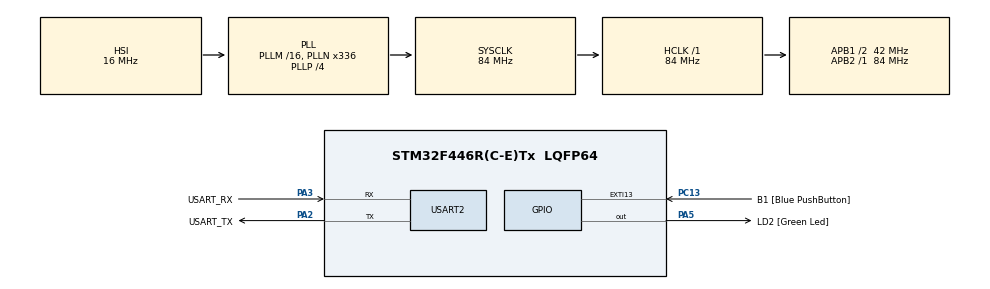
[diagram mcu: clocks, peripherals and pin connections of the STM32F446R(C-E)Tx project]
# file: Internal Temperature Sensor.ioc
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ADC1.Channel-0\#ChannelRegularConversion=ADC_CHANNEL_TEMPSENSOR
ADC1.ContinuousConvMode=DISABLE
ADC1.NbrOfConversionFlag=1
ADC1.Rank-0\#ChannelRegularConversion=1
ADC1.SamplingTime-0\#ChannelRegularConversion=ADC_SAMPLETIME_3CYCLES
ADC1.master=1
Mcu.Family=STM32F4
Mcu.Name=STM32F446R(C-E)Tx
Mcu.Package=LQFP64
NVIC.PriorityGroup=NVIC_PRIORITYGROUP_0
PA13.GPIO_Label=TMS
PA13.Mode=Serial_Wire
PA13.Signal=SYS_JTMS-SWDIO
PA14.GPIO_Label=TCK
PA14.Mode=Serial_Wire
PA14.Signal=SYS_JTCK-SWCLK
PA2.GPIO_Label=USART_TX
PA2.Mode=Asynchronous
PA2.Signal=USART2_TX
PA3.GPIO_Label=USART_RX
PA3.Mode=Asynchronous
PA3.Signal=USART2_RX
PA5.GPIO_Label=LD2 [Green Led]
PA5.Signal=GPIO_Output
PB3.GPIO_Label=SWO
PB3.Signal=SYS_JTDO-SWO
PC13.GPIO_Label=B1 [Blue PushButton]
PC13.GPIO_ModeDefaultEXTI=GPIO_MODE_IT_FALLING
PC13.Signal=GPXTI13
PC14-OSC32_IN.Mode=LSE-External-Oscillator
PC14-OSC32_IN.Signal=RCC_OSC32_IN
PC15-OSC32_OUT.Mode=LSE-External-Oscillator
PC15-OSC32_OUT.Signal=RCC_OSC32_OUT
PH0-OSC_IN.Mode=HSE-External-Oscillator
PH0-OSC_IN.Signal=RCC_OSC_IN
PH1-OSC_OUT.Mode=HSE-External-Oscillator
PH1-OSC_OUT.Signal=RCC_OSC_OUT
ProjectManager.HeapSize=0x200
ProjectManager.StackSize=0x400
ProjectManager.TargetToolchain=STM32CubeIDE
RCC.48MHZClocksFreq_Value=84000000
RCC.AHBFreq_Value=84000000
RCC.APB1CLKDivider=RCC_HCLK_DIV2
RCC.APB1Freq_Value=42000000
RCC.APB1TimFreq_Value=84000000
RCC.APB2Freq_Value=84000000
RCC.APB2TimFreq_Value=84000000
RCC.CortexFreq_Value=84000000
RCC.FLatency-AdvancedSettings=FLASH_LATENCY_2
RCC.HCLKFreq_Value=84000000
RCC.HSE_VALUE=8000000
RCC.HSI_VALUE=16000000
RCC.PLLN=336
RCC.PLLP=RCC_PLLP_DIV4
RCC.SYSCLKFreq_VALUE=84000000
RCC.SYSCLKSource=RCC_SYSCLKSOURCE_PLLCLK
RCC.USBFreq_Value=168000000
RCC.VCOOutputFreq_Value=336000000
USART2.VirtualMode=VM_ASYNC
VP_ADC1_TempSens_Input.Mode=IN-TempSens
board=NUCLEO-F446RE

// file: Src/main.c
/* USER CODE BEGIN Header */
/**
  ******************************************************************************
  * @file           : main.c
  * @brief          : Main program body
  ******************************************************************************
  * @attention
  *
  * Copyright (c) 2026 STMicroelectronics.
  * All rights reserved.
  *
  * This software is licensed under terms that can be found in the LICENSE file
  * in the root directory of this software component.
  * If no LICENSE file comes with this software, it is provided AS-IS.
  *
  ******************************************************************************
  */
/* USER CODE END Header */
#include "main.h"

/* USER CODE BEGIN Includes */
#include <stdio.h>
#include <string.h>

/* USER CODE END Includes */

ADC_HandleTypeDef hadc1;

UART_HandleTypeDef huart2;

void SystemClock_Config(void);
static void MX_GPIO_Init(void);
static void MX_ADC1_Init(void);
static void MX_USART2_UART_Init(void);

int main(void)
{

  /* USER CODE BEGIN 1 */
	uint32_t adc_value;
	char msg[100];
	float voltage;
	float temperature;

  /* USER CODE END 1 */

  /* MCU Configuration--------------------------------------------------------*/

  /* Reset of all peripherals, Initializes the Flash interface and the Systick. */
  HAL_Init();

  /* Configure the system clock */
  SystemClock_Config();

  /* Initialize all configured peripherals */
  MX_GPIO_Init();
  MX_ADC1_Init();
  MX_USART2_UART_Init();

  /* Infinite loop */
  while (1)
  {

    /* USER CODE BEGIN 3 */
	HAL_ADC_Start(&hadc1);
	HAL_ADC_PollForConversion(&hadc1, HAL_MAX_DELAY);

	adc_value = HAL_ADC_GetValue(&hadc1);

	voltage = ((float)adc_value / 4095.0f) * 3.3f;

	temperature = ((voltage - 0.76f) / 0.0025f) + 25.0f;

	sprintf(msg,
	          "ADC:%lu Voltage:%.2f Temp:%.2f C\r\n",
	          adc_value,
	          voltage,
	          temperature);

	HAL_UART_Transmit(&huart2, (uint8_t*)msg, strlen(msg), HAL_MAX_DELAY);

	HAL_Delay(4000);
  }
  /* USER CODE END 3 */
}

void SystemClock_Config(void)
{
  RCC_OscInitTypeDef RCC_OscInitStruct = {0};
  RCC_ClkInitTypeDef RCC_ClkInitStruct = {0};

  /** Configure the main internal regulator output voltage
  */
  __HAL_RCC_PWR_CLK_ENABLE();
  __HAL_PWR_VOLTAGESCALING_CONFIG(PWR_REGULATOR_VOLTAGE_SCALE3);

  /** Initializes the RCC Oscillators according to the specified parameters
  * in the RCC_OscInitTypeDef structure.
  */
  RCC_OscInitStruct.OscillatorType = RCC_OSCILLATORTYPE_HSI;
  RCC_OscInitStruct.HSIState = RCC_HSI_ON;
  RCC_OscInitStruct.HSICalibrationValue = RCC_HSICALIBRATION_DEFAULT;
  RCC_OscInitStruct.PLL.PLLState = RCC_PLL_ON;
  RCC_OscInitStruct.PLL.PLLSource = RCC_PLLSOURCE_HSI;
  RCC_OscInitStruct.PLL.PLLM = 16;
  RCC_OscInitStruct.PLL.PLLN = 336;
  RCC_OscInitStruct.PLL.PLLP = RCC_PLLP_DIV4;
  RCC_OscInitStruct.PLL.PLLQ = 2;
  RCC_OscInitStruct.PLL.PLLR = 2;
  if (HAL_RCC_OscConfig(&RCC_OscInitStruct) != HAL_OK)
  {
    Error_Handler();
  }

  /** Initializes the CPU, AHB and APB buses clocks
  */
  RCC_ClkInitStruct.ClockType = RCC_CLOCKTYPE_HCLK|RCC_CLOCKTYPE_SYSCLK
                              |RCC_CLOCKTYPE_PCLK1|RCC_CLOCKTYPE_PCLK2;
  RCC_ClkInitStruct.SYSCLKSource = RCC_SYSCLKSOURCE_PLLCLK;
  RCC_ClkInitStruct.AHBCLKDivider = RCC_SYSCLK_DIV1;
  RCC_ClkInitStruct.APB1CLKDivider = RCC_HCLK_DIV2;
  RCC_ClkInitStruct.APB2CLKDivider = RCC_HCLK_DIV1;

  if (HAL_RCC_ClockConfig(&RCC_ClkInitStruct, FLASH_LATENCY_2) != HAL_OK)
  {
    Error_Handler();
  }
}

static void MX_ADC1_Init(void)
{

  ADC_ChannelConfTypeDef sConfig = {0};

  /** Configure the global features of the ADC (Clock, Resolution, Data Alignment and number of conversion)
  */
  hadc1.Instance = ADC1;
  hadc1.Init.ClockPrescaler = ADC_CLOCK_SYNC_PCLK_DIV4;
  hadc1.Init.Resolution = ADC_RESOLUTION_12B;
  hadc1.Init.ScanConvMode = DISABLE;
  hadc1.Init.ContinuousConvMode = DISABLE;
  hadc1.Init.DiscontinuousConvMode = DISABLE;
  hadc1.Init.ExternalTrigConvEdge = ADC_EXTERNALTRIGCONVEDGE_NONE;
  hadc1.Init.ExternalTrigConv = ADC_SOFTWARE_START;
  hadc1.Init.DataAlign = ADC_DATAALIGN_RIGHT;
  hadc1.Init.NbrOfConversion = 1;
  hadc1.Init.DMAContinuousRequests = DISABLE;
  hadc1.Init.EOCSelection = ADC_EOC_SINGLE_CONV;
  if (HAL_ADC_Init(&hadc1) != HAL_OK)
  {
    Error_Handler();
  }

  /** Configure for the selected ADC regular channel its corresponding rank in the sequencer and its sample time.
  */
  sConfig.Channel = ADC_CHANNEL_TEMPSENSOR;
  sConfig.Rank = 1;
  sConfig.SamplingTime = ADC_SAMPLETIME_3CYCLES;
  if (HAL_ADC_ConfigChannel(&hadc1, &sConfig) != HAL_OK)
  {
    Error_Handler();
  }

}

static void MX_USART2_UART_Init(void)
{

  huart2.Instance = USART2;
  huart2.Init.BaudRate = 115200;
  huart2.Init.WordLength = UART_WORDLENGTH_8B;
  huart2.Init.StopBits = UART_STOPBITS_1;
  huart2.Init.Parity = UART_PARITY_NONE;
  huart2.Init.Mode = UART_MODE_TX_RX;
  huart2.Init.HwFlowCtl = UART_HWCONTROL_NONE;
  huart2.Init.OverSampling = UART_OVERSAMPLING_16;
  if (HAL_UART_Init(&huart2) != HAL_OK)
  {
    Error_Handler();
  }

}

static void MX_GPIO_Init(void)
{
  GPIO_InitTypeDef GPIO_InitStruct = {0};

  /* GPIO Ports Clock Enable */
  __HAL_RCC_GPIOC_CLK_ENABLE();
  __HAL_RCC_GPIOH_CLK_ENABLE();
  __HAL_RCC_GPIOA_CLK_ENABLE();
  __HAL_RCC_GPIOB_CLK_ENABLE();

  /*Configure GPIO pin Output Level */
  HAL_GPIO_WritePin(LD2_GPIO_Port, LD2_Pin, GPIO_PIN_RESET);

  /*Configure GPIO pin : B1_Pin */
  GPIO_InitStruct.Pin = B1_Pin;
  GPIO_InitStruct.Mode = GPIO_MODE_IT_FALLING;
  GPIO_InitStruct.Pull = GPIO_NOPULL;
  HAL_GPIO_Init(B1_GPIO_Port, &GPIO_InitStruct);

  /*Configure GPIO pin : LD2_Pin */
  GPIO_InitStruct.Pin = LD2_Pin;
  GPIO_InitStruct.Mode = GPIO_MODE_OUTPUT_PP;
  GPIO_InitStruct.Pull = GPIO_NOPULL;
  GPIO_InitStruct.Speed = GPIO_SPEED_FREQ_LOW;
  HAL_GPIO_Init(LD2_GPIO_Port, &GPIO_InitStruct);

}

void Error_Handler(void)
{
  __disable_irq();
  while (1)
  {
  }
}
